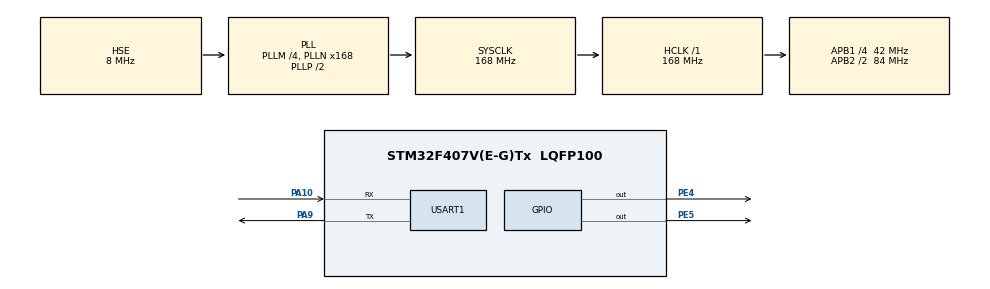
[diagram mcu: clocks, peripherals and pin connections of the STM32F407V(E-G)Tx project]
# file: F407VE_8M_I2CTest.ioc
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Mcu.Family=STM32F4
Mcu.Name=STM32F407V(E-G)Tx
Mcu.Package=LQFP100
NVIC.PriorityGroup=NVIC_PRIORITYGROUP_4
NVIC.USART1_IRQn=true\:0\:0\:false\:false\:true\:true\:true
PA10.Mode=Asynchronous
PA10.Signal=USART1_RX
PA13.Mode=Serial_Wire
PA13.Signal=SYS_JTMS-SWDIO
PA14.Mode=Serial_Wire
PA14.Signal=SYS_JTCK-SWCLK
PA9.Mode=Asynchronous
PA9.Signal=USART1_TX
PC14-OSC32_IN.Mode=LSE-External-Oscillator
PC14-OSC32_IN.Signal=RCC_OSC32_IN
PC15-OSC32_OUT.Mode=LSE-External-Oscillator
PC15-OSC32_OUT.Signal=RCC_OSC32_OUT
PE4.GPIO_ModeDefaultOutputPP=GPIO_MODE_OUTPUT_PP
PE4.GPIO_PuPd=GPIO_PULLUP
PE4.GPIO_Speed=GPIO_SPEED_FREQ_VERY_HIGH
PE4.PinState=GPIO_PIN_SET
PE4.Signal=GPIO_Output
PE5.GPIO_ModeDefaultOutputPP=GPIO_MODE_OUTPUT_PP
PE5.GPIO_PuPd=GPIO_PULLUP
PE5.GPIO_Speed=GPIO_SPEED_FREQ_VERY_HIGH
PE5.PinState=GPIO_PIN_SET
PE5.Signal=GPIO_Output
PH0-OSC_IN.Mode=HSE-External-Oscillator
PH0-OSC_IN.Signal=RCC_OSC_IN
PH1-OSC_OUT.Mode=HSE-External-Oscillator
PH1-OSC_OUT.Signal=RCC_OSC_OUT
ProjectManager.HeapSize=0x200
ProjectManager.StackSize=0x400
ProjectManager.TargetToolchain=MDK-ARM V5.32
RCC.48MHZClocksFreq_Value=84000000
RCC.AHBFreq_Value=168000000
RCC.APB1CLKDivider=RCC_HCLK_DIV4
RCC.APB1Freq_Value=42000000
RCC.APB1TimFreq_Value=84000000
RCC.APB2CLKDivider=RCC_HCLK_DIV2
RCC.APB2Freq_Value=84000000
RCC.APB2TimFreq_Value=168000000
RCC.CortexFreq_Value=168000000
RCC.HCLKFreq_Value=168000000
RCC.HSE_VALUE=8000000
RCC.HSI_VALUE=16000000
RCC.PLLM=4
RCC.PLLN=168
RCC.PLLSourceVirtual=RCC_PLLSOURCE_HSE
RCC.SYSCLKFreq_VALUE=168000000
RCC.SYSCLKSource=RCC_SYSCLKSOURCE_PLLCLK
RCC.VCOOutputFreq_Value=336000000
USART1.VirtualMode=VM_ASYNC
board=custom

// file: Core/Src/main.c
/* USER CODE BEGIN Header */
/**
  ******************************************************************************
  * @file           : main.c
  * @brief          : Main program body
  ******************************************************************************
  * @attention
  *
  * <h2><center>&copy; Copyright (c) 2021 STMicroelectronics.
  * All rights reserved.</center></h2>
  *
  * This software component is licensed by ST under BSD 3-Clause license,
  * the "License"; You may not use this file except in compliance with the
  * License. You may obtain a copy of the License at:
  *                        opensource.org/licenses/BSD-3-Clause
  *
  ******************************************************************************
  */
/* USER CODE END Header */
#include "main.h"
#include "usart.h"
#include "gpio.h"

/* USER CODE BEGIN Includes */
#include "I2C/softi2c.h"
/* USER CODE END Includes */

/* USER CODE BEGIN PV */
MyUARTHandle uart1;
uint8_t uartBuf1[100];

SoftI2C_Port testPort;
uint16_t addrList[1024];
uint16_t addrNum = 0;
uint32_t i;
/* USER CODE END PV */

void SystemClock_Config(void);

int main(void)
{

  /* MCU Configuration--------------------------------------------------------*/

  /* Reset of all peripherals, Initializes the Flash interface and the Systick. */
  HAL_Init();

  /* Configure the system clock */
  SystemClock_Config();

  /* Initialize all configured peripherals */
  MX_GPIO_Init();
  MX_USART1_UART_Init();
  /* USER CODE BEGIN 2 */
  Delay_Init(168);
  MyUART_Init(&uart1, USART1, uartBuf1, 100);
  SoftI2C_SetPort(&testPort, GPIOE, 4, GPIOE, 5);
  SoftI2C_Init(&testPort, 100000, SI2C_ADDR_7b);
  printf("I2C Test\r\n");
  addrNum = SoftI2C_SearchAddr(&testPort, 0, 0x80, addrList);
  printf("Available address: %d\r\n", addrNum);
  for(i = 0; i < addrNum; i++)
    printf("0x%x ", addrList[i]);
  printf("\r\n");
  /* USER CODE END 2 */

  /* Infinite loop */
  while (1)
  {

  }
}

void SystemClock_Config(void)
{
  RCC_OscInitTypeDef RCC_OscInitStruct = {0};
  RCC_ClkInitTypeDef RCC_ClkInitStruct = {0};

  /** Configure the main internal regulator output voltage
  */
  __HAL_RCC_PWR_CLK_ENABLE();
  __HAL_PWR_VOLTAGESCALING_CONFIG(PWR_REGULATOR_VOLTAGE_SCALE1);
  /** Initializes the RCC Oscillators according to the specified parameters
  * in the RCC_OscInitTypeDef structure.
  */
  RCC_OscInitStruct.OscillatorType = RCC_OSCILLATORTYPE_HSE;
  RCC_OscInitStruct.HSEState = RCC_HSE_ON;
  RCC_OscInitStruct.PLL.PLLState = RCC_PLL_ON;
  RCC_OscInitStruct.PLL.PLLSource = RCC_PLLSOURCE_HSE;
  RCC_OscInitStruct.PLL.PLLM = 4;
  RCC_OscInitStruct.PLL.PLLN = 168;
  RCC_OscInitStruct.PLL.PLLP = RCC_PLLP_DIV2;
  RCC_OscInitStruct.PLL.PLLQ = 4;
  if (HAL_RCC_OscConfig(&RCC_OscInitStruct) != HAL_OK)
  {
    Error_Handler();
  }
  /** Initializes the CPU, AHB and APB buses clocks
  */
  RCC_ClkInitStruct.ClockType = RCC_CLOCKTYPE_HCLK|RCC_CLOCKTYPE_SYSCLK
                              |RCC_CLOCKTYPE_PCLK1|RCC_CLOCKTYPE_PCLK2;
  RCC_ClkInitStruct.SYSCLKSource = RCC_SYSCLKSOURCE_PLLCLK;
  RCC_ClkInitStruct.AHBCLKDivider = RCC_SYSCLK_DIV1;
  RCC_ClkInitStruct.APB1CLKDivider = RCC_HCLK_DIV4;
  RCC_ClkInitStruct.APB2CLKDivider = RCC_HCLK_DIV2;

  if (HAL_RCC_ClockConfig(&RCC_ClkInitStruct, FLASH_LATENCY_5) != HAL_OK)
  {
    Error_Handler();
  }
}

void Error_Handler(void)
{
  __disable_irq();
  while (1)
  {
  }
}

/************************ (C) COPYRIGHT STMicroelectronics *****END OF FILE****/
